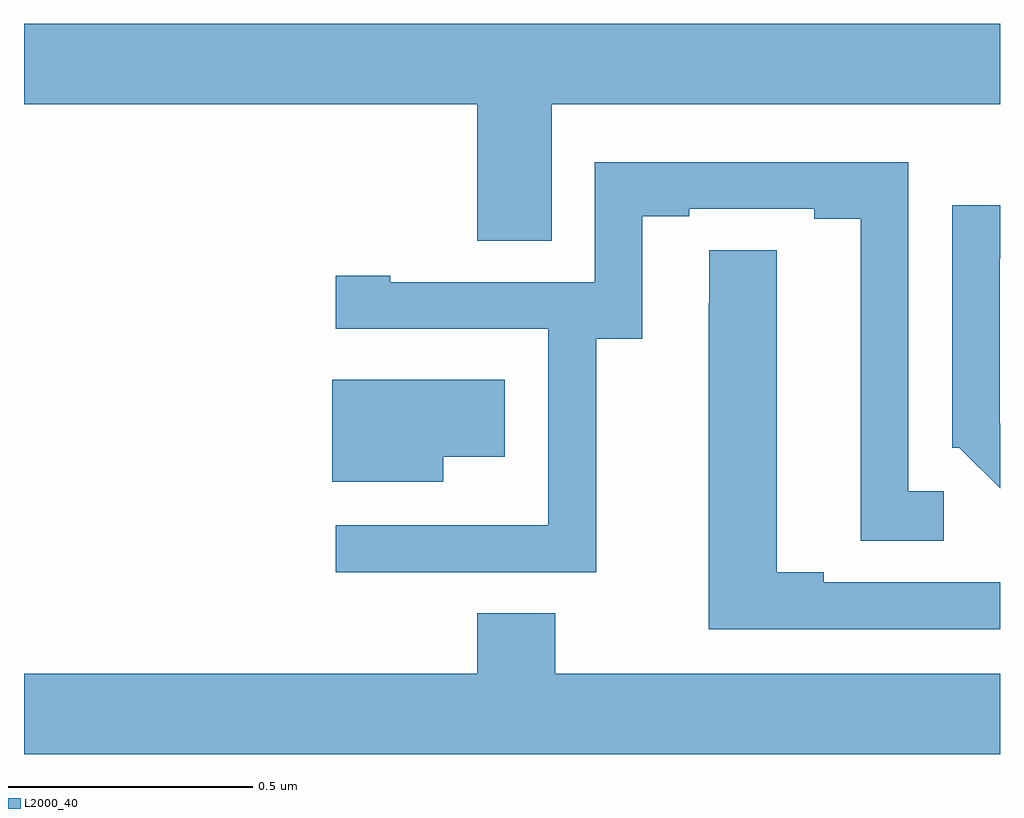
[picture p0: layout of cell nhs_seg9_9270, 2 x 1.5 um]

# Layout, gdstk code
import gdstk
lib = gdstk.Library(unit=1e-6, precision=1e-09)
def P(c, l, *ps):  # polygons
    for p in ps: c.add(gdstk.Polygon(p, *l))
L2000_40 = (2000, 40)

nhs_seg9_9270 = lib.new_cell('nhs_seg9_9270')
P(nhs_seg9_9270, L2000_40, [(229.081,1183.1),(230,1183.1),(230,1183.264),(228,1183.264),(228,1183.1),(228.929,1183.1),(228.929,1182.82),(229.081,1182.82)],
  [(229.173,1182.619),(229.267,1182.619),(229.267,1182.87),(229.363,1182.87),(229.363,1182.885),(229.619,1182.885),(229.619,1182.865),(229.715,1182.865),(229.715,1182.205),(229.885,1182.205),(229.885,1182.306),(229.812,1182.306),(229.812,1182.981),(229.17,1182.981),(229.17,1182.735),(228.751,1182.735),(228.751,1182.748),(228.639,1182.748),(228.639,1182.639),(229.074,1182.639),(229.074,1182.238),(229.073,1182.238),(229.073,1182.237),(228.639,1182.237),(228.639,1182.141),(229.173,1182.141)],
  [(230,1182.445),(229.999,1182.446),(229.999,1182.783),(230,1182.783),(230,1182.893),(229.902,1182.893),(229.902,1182.396),(229.917,1182.396),(230,1182.313)],
  [(230,1182.12),(229.639,1182.12),(229.639,1182.14),(229.543,1182.14),(229.543,1182.8),(229.404,1182.8),(229.404,1182.692),(229.403,1182.692),(229.403,1182.024),(230,1182.024)],
  [(228.859,1182.377),(228.985,1182.377),(228.985,1182.535),(228.632,1182.535),(228.632,1182.326),(228.859,1182.326)],
  [(230,1181.932),(229.089,1181.932),(229.089,1182.056),(228.929,1182.056),(228.929,1181.932),(228,1181.932),(228,1181.768),(230,1181.768)])

lib.write_gds('nhs_seg9_9270.gds')
